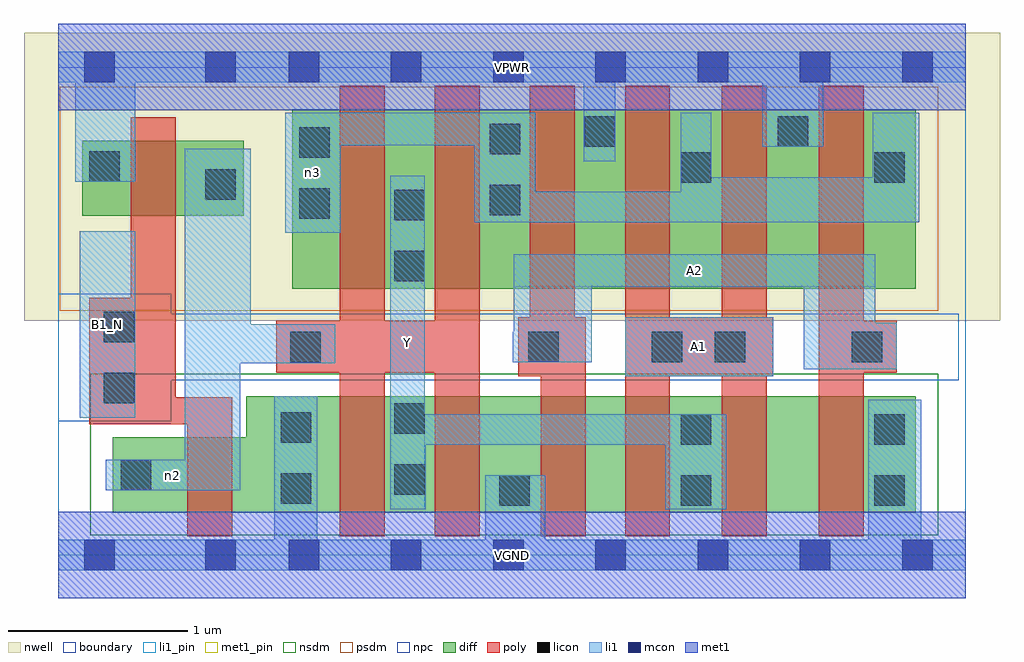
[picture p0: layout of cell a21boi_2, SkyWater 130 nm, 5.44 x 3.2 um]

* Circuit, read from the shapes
.subckt a21boi_2 A1 A2 B1_N VGND VPWR Y n2 n3
XM1 VGND B1_N n2 VSUBS sky130_fd_pr__nfet_01v8 w=0.42 l=0.25
XM2 Y n2 VGND VSUBS sky130_fd_pr__nfet_01v8 w=0.65 l=0.25 m=2
XM3 n1 A2 VGND VSUBS sky130_fd_pr__nfet_01v8 w=0.65 l=0.25
XM4 Y A1 n1 VSUBS sky130_fd_pr__nfet_01v8 w=0.65 l=0.25
XM5 n4 A1 Y VSUBS sky130_fd_pr__nfet_01v8 w=0.65 l=0.25
XM6 VGND A2 n4 VSUBS sky130_fd_pr__nfet_01v8 w=0.65 l=0.25
XM7 n2 B1_N VPWR n5 sky130_fd_pr__pfet_01v8 w=0.42 l=0.25
XM8 Y n2 n3 n5 sky130_fd_pr__pfet_01v8 w=1 l=0.25 m=2
XM9 VPWR A2 n3 n5 sky130_fd_pr__pfet_01v8 w=1 l=0.25 m=2
XM10 n3 A1 VPWR n5 sky130_fd_pr__pfet_01v8 w=1 l=0.25 m=2
.ends

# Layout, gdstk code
import gdstk
lib = gdstk.Library(unit=1e-6, precision=1e-09)
def R(c, l, rs):  # rectangles x0, y0, x1, y1
    for r in rs: c.add(gdstk.rectangle(r[:2], r[2:], *l))
def A(c, l, x, y, w, h, nx, ny, dx, dy):  # array of equal rectangles
    R(c, l, [(x+i*dx, y+j*dy, x+i*dx+w, y+j*dy+h) for i in range(nx) for j in range(ny)])
nwell = (64, 20)
diff = (65, 20)
poly = (66, 20)
licon = (66, 44)
li1_pin = (67, 16)
li1 = (67, 20)
mcon = (67, 44)
met1_pin = (68, 16)
met1 = (68, 20)
nsdm = (93, 44)
psdm = (94, 20)
npc = (95, 20)
boundary = (235, 4)

a21boi_2 = lib.new_cell('a21boi_2')
R(a21boi_2, nwell, [(-0.19,1.305,5.25,2.91), (0,1.305,5.06,2.91)])
R(a21boi_2, diff, [(0.305,0.235,4.78,0.655), (1.05,0.235,4.78,0.885), (1.305,1.485,4.78,2.485), (0.135,1.89,1.035,2.31)])
A(a21boi_2, poly, 3.16, 0.105, 0.25, 2.51, 3, 1, 0.54, 0)
R(a21boi_2, poly, [(0.72,0.105,0.97,0.88), (1.57,0.105,1.82,2.615), (2.1,0.105,2.35,2.615), (2.69,0.105,2.94,1.325), (0.175,0.73,0.655,1.435), (0.175,0.73,0.97,0.88), (0.405,0.73,0.655,2.44), (2.565,0.995,2.94,1.325), (2.63,0.995,2.88,2.615), (3.16,0.995,3.985,1.325), (1.215,1.015,2.35,1.305), (4.24,1.015,4.675,1.305)])
R(a21boi_2, licon, [(2.46,0.275,2.63,0.445), (3.47,0.275,3.64,0.445), (4.55,0.275,4.72,0.445), (1.24,0.285,1.41,0.455), (1.875,0.335,2.045,0.505), (0.35,0.36,0.52,0.53), (3.47,0.615,3.64,0.785), (4.55,0.615,4.72,0.785), (1.24,0.625,1.41,0.795), (1.875,0.675,2.045,0.845), (0.255,0.845,0.425,1.015), (1.295,1.075,1.465,1.245), (2.62,1.075,2.79,1.245), (3.31,1.075,3.48,1.245), (3.66,1.075,3.83,1.245), (4.425,1.075,4.595,1.245), (0.255,1.185,0.425,1.355), (1.875,1.525,2.045,1.695), (1.875,1.865,2.045,2.035), (1.345,1.875,1.515,2.045), (2.405,1.895,2.575,2.065), (0.82,1.98,0.99,2.15), (3.47,2.075,3.64,2.245), (4.55,2.075,4.72,2.245), (0.175,2.08,0.345,2.25), (1.345,2.215,1.515,2.385), (2.405,2.235,2.575,2.405), (2.935,2.275,3.105,2.445), (4.01,2.275,4.18,2.445)])
R(a21boi_2, li1_pin, [(1.85,0.255,2.045,2.115), (0.12,0.765,0.43,1.805), (3.16,0.995,3.985,1.325), (2.54,1.495,4.555,1.675)])
R(a21boi_2, li1, [(0,-0.085,5.06,0.085), (1.205,-0.085,1.445,0.885), (2.38,-0.085,2.715,0.445), (4.515,-0.085,4.81,0.865), (1.85,0.255,2.045,2.115), (1.85,0.255,2.05,0.785), (3.385,0.255,3.725,0.785), (0.265,0.36,1.015,0.53), (0.705,0.36,1.015,2.265), (1.85,0.615,3.725,0.785), (0.12,0.765,0.43,1.805), (3.16,0.995,3.985,1.325), (4.155,1.035,4.555,1.675), (4.155,1.035,4.675,1.295), (0.705,1.07,1.545,1.285), (0.705,1.07,1.075,2.265), (2.535,1.075,2.975,1.245), (2.54,1.075,2.975,1.675), (2.54,1.495,4.555,1.675), (1.265,1.795,1.575,2.465), (2.32,1.855,4.8,2.025), (2.32,1.855,2.66,2.465), (3.47,1.855,3.64,2.465), (3.47,1.855,4.8,2.105), (4.54,1.855,4.8,2.465), (0.095,2.08,0.43,2.805), (2.93,2.195,3.105,2.805), (3.925,2.275,4.265,2.805), (1.265,2.285,2.66,2.465), (0,2.635,5.06,2.805)])
A(a21boi_2, mcon, 1.285, -0.085, 0.17, 0.17, 7, 2, 0.57, 2.72)
R(a21boi_2, mcon, [(0.145,-0.085,0.315,0.085), (0.82,-0.085,0.99,0.085), (0.145,2.635,0.315,2.805), (0.82,2.635,0.99,2.805)])
R(a21boi_2, met1_pin, [(0,-0.24,5.06,0.24), (0,2.48,5.06,2.96)])
R(a21boi_2, met1, [(0,-0.24,5.06,0.24), (0,2.48,5.06,2.96)])
R(a21boi_2, nsdm, [(0.18,0.11,4.905,1.01)])
R(a21boi_2, psdm, [(0.01,1.36,4.905,2.61)])
R(a21boi_2, npc, [(0,0.745,0.63,1.455), (0,0.975,5.02,1.345)])
R(a21boi_2, boundary, [(0,0,5.06,2.72)])
a21boi_2.add(gdstk.Label('A1', (3.572,1.16), layer=67, texttype=5))
a21boi_2.add(gdstk.Label('A2', (3.547,1.585), layer=67, texttype=5))
a21boi_2.add(gdstk.Label('B1_N', (0.275,1.285), layer=67, texttype=5))
a21boi_2.add(gdstk.Label('Y', (1.947,1.185), layer=67, texttype=5))
a21boi_2.add(gdstk.Label('n2', (0.64,0.445), layer=67, texttype=5))
a21boi_2.add(gdstk.Label('n3', (1.42,2.13), layer=67, texttype=5))
a21boi_2.add(gdstk.Label('VPWR', (2.53,2.72), layer=68, texttype=5))
a21boi_2.add(gdstk.Label('VGND', (2.53,0), layer=68, texttype=5))
a21boi_2.add(gdstk.Label('A1', (3.572,1.16), layer=67, texttype=16))
a21boi_2.add(gdstk.Label('A2', (3.547,1.585), layer=67, texttype=16))
a21boi_2.add(gdstk.Label('B1_N', (0.275,1.285), layer=67, texttype=16))
a21boi_2.add(gdstk.Label('Y', (1.947,1.185), layer=67, texttype=16))
a21boi_2.add(gdstk.Label('VPWR', (2.53,2.72), layer=68, texttype=16))
a21boi_2.add(gdstk.Label('VGND', (2.53,0), layer=68, texttype=16))

lib.write_gds('a21boi_2.gds')
